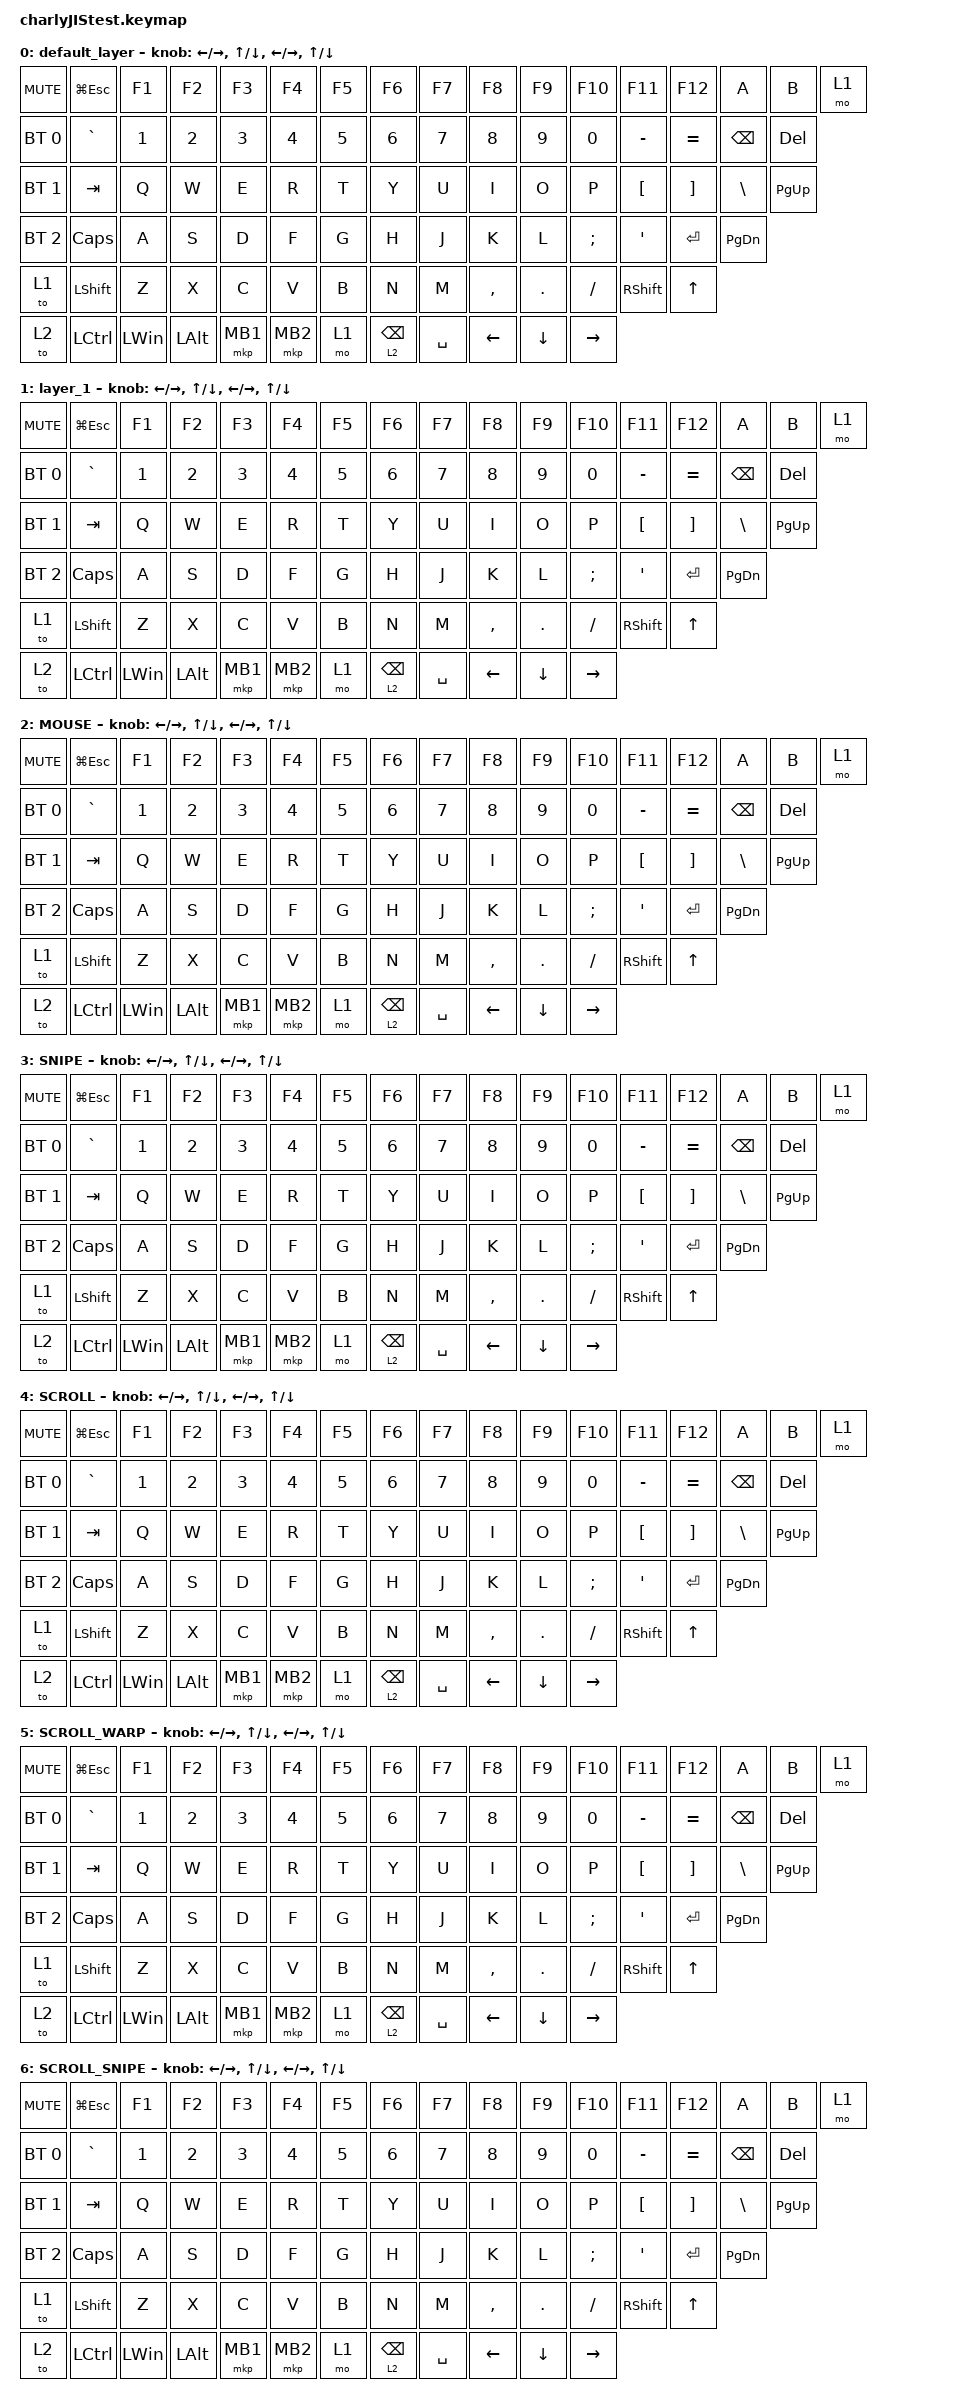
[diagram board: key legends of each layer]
//#include <dt-bindings/zmk/mouse.h>

//#include <behaviors/rgbled_widget.dtsi>
#include <behaviors.dtsi>
#include <dt-bindings/zmk/bt.h>
#include <dt-bindings/zmk/keys.h>
#include <dt-bindings/zmk/outputs.h>
#include <dt-bindings/zmk/pointing.h>

#include <input/processors.dtsi>
#include <dt-bindings/zmk/input_transform.h>

/ {
    keymap {
        compatible = "zmk,keymap";

        default_layer {
            bindings = <
&kp C_MUTE    &kp LG(ESCAPE)  &kp F1        &kp F2        &kp F3        &kp F4        &kp F5  &kp F6           &kp F7     &kp F8     &kp F9      &kp F10          &kp F11           &kp F12            &kp A          &kp B      &mo 1
&bt BT_SEL 0  &kp GRAVE       &kp NUMBER_1  &kp NUMBER_2  &kp NUMBER_3  &kp NUMBER_4  &kp N5  &kp NUMBER_6     &kp N7     &kp N8     &kp N9      &kp N0           &kp MINUS         &kp EQUAL          &kp BACKSPACE  &kp DEL
&bt BT_SEL 1  &kp TAB         &kp Q         &kp W         &kp E         &kp R         &kp T   &kp Y            &kp U      &kp I      &kp O       &kp P            &kp LEFT_BRACKET  &kp RIGHT_BRACKET  &kp BACKSLASH  &kp PG_UP
&bt BT_SEL 2  &kp CAPSLOCK    &kp A         &kp S         &kp D         &kp F         &kp G   &kp H            &kp J      &kp K      &kp L       &kp SEMICOLON    &kp SQT           &kp ENTER          &kp PAGE_DOWN
&to 1         &kp LEFT_SHIFT  &kp Z         &kp X         &kp C         &kp V         &kp B   &kp N            &kp M      &kp COMMA  &kp PERIOD  &kp SLASH        &kp RSHIFT        &kp UP_ARROW
&to 2         &kp LCTRL       &kp LEFT_WIN  &kp LEFT_ALT  &mkp MB1      &mkp MB2      &mo 1   &lt 2 BACKSPACE  &kp SPACE  &kp LEFT   &kp DOWN    &kp RIGHT_ARROW
            >;

            sensor-bindings = <
                &inc_dec_kp LEFT_ARROW RIGHT_ARROW
                &inc_dec_kp UP_ARROW   DOWN_ARROW
                &inc_dec_kp LEFT_ARROW RIGHT_ARROW
                &inc_dec_kp UP_ARROW   DOWN_ARROW
            >;
        };

        layer_1 {
            bindings = <
&kp C_MUTE    &kp LG(ESCAPE)  &kp F1        &kp F2        &kp F3        &kp F4        &kp F5  &kp F6           &kp F7     &kp F8     &kp F9      &kp F10          &kp F11           &kp F12            &kp A          &kp B      &mo 1
&bt BT_SEL 0  &kp GRAVE       &kp NUMBER_1  &kp NUMBER_2  &kp NUMBER_3  &kp NUMBER_4  &kp N5  &kp NUMBER_6     &kp N7     &kp N8     &kp N9      &kp N0           &kp MINUS         &kp EQUAL          &kp BACKSPACE  &kp DEL
&bt BT_SEL 1  &kp TAB         &kp Q         &kp W         &kp E         &kp R         &kp T   &kp Y            &kp U      &kp I      &kp O       &kp P            &kp LEFT_BRACKET  &kp RIGHT_BRACKET  &kp BACKSLASH  &kp PG_UP
&bt BT_SEL 2  &kp CAPSLOCK    &kp A         &kp S         &kp D         &kp F         &kp G   &kp H            &kp J      &kp K      &kp L       &kp SEMICOLON    &kp SQT           &kp ENTER          &kp PAGE_DOWN
&to 1         &kp LEFT_SHIFT  &kp Z         &kp X         &kp C         &kp V         &kp B   &kp N            &kp M      &kp COMMA  &kp PERIOD  &kp SLASH        &kp RSHIFT        &kp UP_ARROW
&to 2         &kp LCTRL       &kp LEFT_WIN  &kp LEFT_ALT  &mkp MB1      &mkp MB2      &mo 1   &lt 2 BACKSPACE  &kp SPACE  &kp LEFT   &kp DOWN    &kp RIGHT_ARROW
            >;

            sensor-bindings = <
                &inc_dec_kp LEFT_ARROW RIGHT_ARROW
                &inc_dec_kp UP_ARROW   DOWN_ARROW
                &inc_dec_kp LEFT_ARROW RIGHT_ARROW
                &inc_dec_kp UP_ARROW   DOWN_ARROW
            >;
        };

        MOUSE {
            bindings = <
&kp C_MUTE    &kp LG(ESCAPE)  &kp F1        &kp F2        &kp F3        &kp F4        &kp F5  &kp F6           &kp F7     &kp F8     &kp F9      &kp F10          &kp F11           &kp F12            &kp A          &kp B      &mo 1
&bt BT_SEL 0  &kp GRAVE       &kp NUMBER_1  &kp NUMBER_2  &kp NUMBER_3  &kp NUMBER_4  &kp N5  &kp NUMBER_6     &kp N7     &kp N8     &kp N9      &kp N0           &kp MINUS         &kp EQUAL          &kp BACKSPACE  &kp DEL
&bt BT_SEL 1  &kp TAB         &kp Q         &kp W         &kp E         &kp R         &kp T   &kp Y            &kp U      &kp I      &kp O       &kp P            &kp LEFT_BRACKET  &kp RIGHT_BRACKET  &kp BACKSLASH  &kp PG_UP
&bt BT_SEL 2  &kp CAPSLOCK    &kp A         &kp S         &kp D         &kp F         &kp G   &kp H            &kp J      &kp K      &kp L       &kp SEMICOLON    &kp SQT           &kp ENTER          &kp PAGE_DOWN
&to 1         &kp LEFT_SHIFT  &kp Z         &kp X         &kp C         &kp V         &kp B   &kp N            &kp M      &kp COMMA  &kp PERIOD  &kp SLASH        &kp RSHIFT        &kp UP_ARROW
&to 2         &kp LCTRL       &kp LEFT_WIN  &kp LEFT_ALT  &mkp MB1      &mkp MB2      &mo 1   &lt 2 BACKSPACE  &kp SPACE  &kp LEFT   &kp DOWN    &kp RIGHT_ARROW
            >;

            sensor-bindings = <
                &inc_dec_kp LEFT_ARROW RIGHT_ARROW
                &inc_dec_kp UP_ARROW   DOWN_ARROW
                &inc_dec_kp LEFT_ARROW RIGHT_ARROW
                &inc_dec_kp UP_ARROW   DOWN_ARROW
            >;
        };

        SNIPE {
            bindings = <
&kp C_MUTE    &kp LG(ESCAPE)  &kp F1        &kp F2        &kp F3        &kp F4        &kp F5  &kp F6           &kp F7     &kp F8     &kp F9      &kp F10          &kp F11           &kp F12            &kp A          &kp B      &mo 1
&bt BT_SEL 0  &kp GRAVE       &kp NUMBER_1  &kp NUMBER_2  &kp NUMBER_3  &kp NUMBER_4  &kp N5  &kp NUMBER_6     &kp N7     &kp N8     &kp N9      &kp N0           &kp MINUS         &kp EQUAL          &kp BACKSPACE  &kp DEL
&bt BT_SEL 1  &kp TAB         &kp Q         &kp W         &kp E         &kp R         &kp T   &kp Y            &kp U      &kp I      &kp O       &kp P            &kp LEFT_BRACKET  &kp RIGHT_BRACKET  &kp BACKSLASH  &kp PG_UP
&bt BT_SEL 2  &kp CAPSLOCK    &kp A         &kp S         &kp D         &kp F         &kp G   &kp H            &kp J      &kp K      &kp L       &kp SEMICOLON    &kp SQT           &kp ENTER          &kp PAGE_DOWN
&to 1         &kp LEFT_SHIFT  &kp Z         &kp X         &kp C         &kp V         &kp B   &kp N            &kp M      &kp COMMA  &kp PERIOD  &kp SLASH        &kp RSHIFT        &kp UP_ARROW
&to 2         &kp LCTRL       &kp LEFT_WIN  &kp LEFT_ALT  &mkp MB1      &mkp MB2      &mo 1   &lt 2 BACKSPACE  &kp SPACE  &kp LEFT   &kp DOWN    &kp RIGHT_ARROW
            >;

            sensor-bindings = <
                &inc_dec_kp LEFT_ARROW RIGHT_ARROW
                &inc_dec_kp UP_ARROW   DOWN_ARROW
                &inc_dec_kp LEFT_ARROW RIGHT_ARROW
                &inc_dec_kp UP_ARROW   DOWN_ARROW
            >;
        };

        SCROLL {
            bindings = <
&kp C_MUTE    &kp LG(ESCAPE)  &kp F1        &kp F2        &kp F3        &kp F4        &kp F5  &kp F6           &kp F7     &kp F8     &kp F9      &kp F10          &kp F11           &kp F12            &kp A          &kp B      &mo 1
&bt BT_SEL 0  &kp GRAVE       &kp NUMBER_1  &kp NUMBER_2  &kp NUMBER_3  &kp NUMBER_4  &kp N5  &kp NUMBER_6     &kp N7     &kp N8     &kp N9      &kp N0           &kp MINUS         &kp EQUAL          &kp BACKSPACE  &kp DEL
&bt BT_SEL 1  &kp TAB         &kp Q         &kp W         &kp E         &kp R         &kp T   &kp Y            &kp U      &kp I      &kp O       &kp P            &kp LEFT_BRACKET  &kp RIGHT_BRACKET  &kp BACKSLASH  &kp PG_UP
&bt BT_SEL 2  &kp CAPSLOCK    &kp A         &kp S         &kp D         &kp F         &kp G   &kp H            &kp J      &kp K      &kp L       &kp SEMICOLON    &kp SQT           &kp ENTER          &kp PAGE_DOWN
&to 1         &kp LEFT_SHIFT  &kp Z         &kp X         &kp C         &kp V         &kp B   &kp N            &kp M      &kp COMMA  &kp PERIOD  &kp SLASH        &kp RSHIFT        &kp UP_ARROW
&to 2         &kp LCTRL       &kp LEFT_WIN  &kp LEFT_ALT  &mkp MB1      &mkp MB2      &mo 1   &lt 2 BACKSPACE  &kp SPACE  &kp LEFT   &kp DOWN    &kp RIGHT_ARROW
            >;

            sensor-bindings = <
                &inc_dec_kp LEFT_ARROW RIGHT_ARROW
                &inc_dec_kp UP_ARROW   DOWN_ARROW
                &inc_dec_kp LEFT_ARROW RIGHT_ARROW
                &inc_dec_kp UP_ARROW   DOWN_ARROW
            >;
        };

        SCROLL_WARP {
            bindings = <
&kp C_MUTE    &kp LG(ESCAPE)  &kp F1        &kp F2        &kp F3        &kp F4        &kp F5  &kp F6           &kp F7     &kp F8     &kp F9      &kp F10          &kp F11           &kp F12            &kp A          &kp B      &mo 1
&bt BT_SEL 0  &kp GRAVE       &kp NUMBER_1  &kp NUMBER_2  &kp NUMBER_3  &kp NUMBER_4  &kp N5  &kp NUMBER_6     &kp N7     &kp N8     &kp N9      &kp N0           &kp MINUS         &kp EQUAL          &kp BACKSPACE  &kp DEL
&bt BT_SEL 1  &kp TAB         &kp Q         &kp W         &kp E         &kp R         &kp T   &kp Y            &kp U      &kp I      &kp O       &kp P            &kp LEFT_BRACKET  &kp RIGHT_BRACKET  &kp BACKSLASH  &kp PG_UP
&bt BT_SEL 2  &kp CAPSLOCK    &kp A         &kp S         &kp D         &kp F         &kp G   &kp H            &kp J      &kp K      &kp L       &kp SEMICOLON    &kp SQT           &kp ENTER          &kp PAGE_DOWN
&to 1         &kp LEFT_SHIFT  &kp Z         &kp X         &kp C         &kp V         &kp B   &kp N            &kp M      &kp COMMA  &kp PERIOD  &kp SLASH        &kp RSHIFT        &kp UP_ARROW
&to 2         &kp LCTRL       &kp LEFT_WIN  &kp LEFT_ALT  &mkp MB1      &mkp MB2      &mo 1   &lt 2 BACKSPACE  &kp SPACE  &kp LEFT   &kp DOWN    &kp RIGHT_ARROW
            >;

            sensor-bindings = <
                &inc_dec_kp LEFT_ARROW RIGHT_ARROW
                &inc_dec_kp UP_ARROW   DOWN_ARROW
                &inc_dec_kp LEFT_ARROW RIGHT_ARROW
                &inc_dec_kp UP_ARROW   DOWN_ARROW
            >;
        };

        SCROLL_SNIPE {
            bindings = <
&kp C_MUTE    &kp LG(ESCAPE)  &kp F1        &kp F2        &kp F3        &kp F4        &kp F5  &kp F6           &kp F7     &kp F8     &kp F9      &kp F10          &kp F11           &kp F12            &kp A          &kp B      &mo 1
&bt BT_SEL 0  &kp GRAVE       &kp NUMBER_1  &kp NUMBER_2  &kp NUMBER_3  &kp NUMBER_4  &kp N5  &kp NUMBER_6     &kp N7     &kp N8     &kp N9      &kp N0           &kp MINUS         &kp EQUAL          &kp BACKSPACE  &kp DEL
&bt BT_SEL 1  &kp TAB         &kp Q         &kp W         &kp E         &kp R         &kp T   &kp Y            &kp U      &kp I      &kp O       &kp P            &kp LEFT_BRACKET  &kp RIGHT_BRACKET  &kp BACKSLASH  &kp PG_UP
&bt BT_SEL 2  &kp CAPSLOCK    &kp A         &kp S         &kp D         &kp F         &kp G   &kp H            &kp J      &kp K      &kp L       &kp SEMICOLON    &kp SQT           &kp ENTER          &kp PAGE_DOWN
&to 1         &kp LEFT_SHIFT  &kp Z         &kp X         &kp C         &kp V         &kp B   &kp N            &kp M      &kp COMMA  &kp PERIOD  &kp SLASH        &kp RSHIFT        &kp UP_ARROW
&to 2         &kp LCTRL       &kp LEFT_WIN  &kp LEFT_ALT  &mkp MB1      &mkp MB2      &mo 1   &lt 2 BACKSPACE  &kp SPACE  &kp LEFT   &kp DOWN    &kp RIGHT_ARROW
            >;

            sensor-bindings = <
                &inc_dec_kp LEFT_ARROW RIGHT_ARROW
                &inc_dec_kp UP_ARROW   DOWN_ARROW
                &inc_dec_kp LEFT_ARROW RIGHT_ARROW
                &inc_dec_kp UP_ARROW   DOWN_ARROW
            >;
        };
    };
};

// #define NUM 1
// #define MOUSE 2
// #define SNIPE 3
// #define SCROLL 4
// #define SCROLL_WARP 5
// #define SCROLL_SNIPE 6

// &mmv {
//     delay-ms = <0>;
//     trigger-period-ms = <10>;
//     time-to-max-speed-ms = <0>;
//     acceleration-exponent = <1>;
// };

// &msc {
//     delay-ms = <0>;
//     trigger-period-ms = <10>;
//     time-to-max-speed-ms = <0>;
//     acceleration-exponent = <0>;
// };

// / {
//     input_processors {
//         zip_wheel_scaler: zip_wheel_scaler {
//             compatible = "zmk,input-processor-scaler";
//             #input-processor-cells = <2>;
//             type = <INPUT_EV_REL>;
//             codes = <INPUT_REL_WHEEL>;
//             track-remainders;
//         };
//         zip_hwheel_scaler: zip_hwheel_scaler {
//             compatible = "zmk,input-processor-scaler";
//             #input-processor-cells = <2>;
//             type = <INPUT_EV_REL>;
//             codes = <INPUT_REL_HWHEEL>;
//             track-remainders;
//         };
//     };
// };

// &msc_input_listener {
//     warp {
//         layers = <SCROLL_WARP>;
//         input-processors = <&zip_wheel_scaler 4 1>, <&zip_hwheel_scaler 4 1>;
//     };
//     precision {
//         layers = <SCROLL_SNIPE>;
//         input-processors = <&zip_wheel_scaler 1 4>, <&zip_hwheel_scaler 1 4>;
//     };
// };

// &trackball_listener {
//     scroller {
//         layers = <SCROLL>;
//         input-processors = <&zip_xy_to_scroll_mapper>;
//     };
//     scroller_warp {
//         layers = <SCROLL_WARP>;
//         input-processors = <&zip_xy_to_scroll_mapper>, <&zip_wheel_scaler 4 1>, <&zip_hwheel_scaler 4 1>;
//     };
//     scroller_precision {
//         layers = <SCROLL_SNIPE>;
//         input-processors = <&zip_xy_to_scroll_mapper>, <&zip_wheel_scaler 1 4>, <&zip_hwheel_scaler 1 4>;
//     };
// };

// / {
//     behaviors {

//         rot_kp: sensor_rotate_kp {
//             compatible = "zmk,behavior-sensor-rotate-var";
//             #sensor-binding-cells = <2>;
//             bindings = <&kp>, <&kp>;
//         };

//         mouse_scrl: mouse_wheel_scrl {
//             compatible = "zmk,behavior-sensor-rotate-var";
//             #sensor-binding-cells = <2>;
//             bindings = <&msc>, <&msc>;

//             tap-ms = <10>;
//         };
//     };
// };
